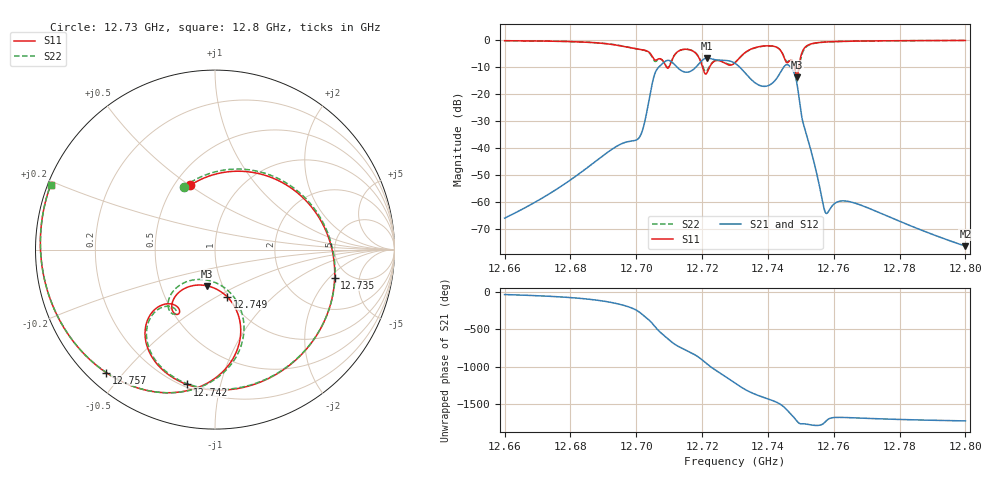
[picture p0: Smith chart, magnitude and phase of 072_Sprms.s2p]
! TOUCHSTONE file generated by CST MICROWAVE STUDIO
! Date and time: Wed Jul 31 14:20:36 2024
! Project name: WaveGuide_BPF-Ver4.1_U-shape_Ku_T3_C4_CWA_2.cst
! Parameters = {cavity_h=16; cavity_l0=10; cavity_l1=15.2223; cavity_l2=16.8835; cavity_l3=17.1034; cavity_l4=17.259; cavity_l5=17.1644; cavity_l6=17.5958; cavity_r=2.5; cavity_screw_l=0.5; cavity_screw_r=1.5; cavity_w=8; iris_h00=0; iris_h01=8.8344; iris_h112=0; iris_h12=5.5935; iris_h211=3.6647; i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
! Header version: 2018
! Port assignment regex: !\s*Touchstone port\s*([0-9]+)\s*=\s*(CST MWS port|CST DS port)\s*([0-9]+|Zmin|Zmax)\s*\(\"(.*)\"\)(\s*mode\s*([0-9]+))?.*
! Touchstone port assignment:
! Touchstone port 1 = CST MWS port 1 ("")
! Touchstone port 2 = CST MWS port 2 ("")
# GHz S RI R 50
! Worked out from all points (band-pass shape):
!   5001 points, 12.66 GHz to 12.8 GHz, reference 50 ohm
!   highest |S21| = -6.67 dB at 12.722 GHz (marker M1); lowest = -76.3 dB at 12.8 GHz (marker M2)
!   |S21| within 3 dB of the highest: 12.70709 GHz to 12.71209 GHz (4.994 MHz wide, 0.0393 % of centre); 12.71838 GHz to 12.73114 GHz (12.76 MHz wide, 0.1 % of centre) (the widest 2 of 3)
!   lowest |S11| = -13.7 dB at 12.749 GHz (marker M3), VSWR 1.52, Z = 42.4 - j17.9 ohm
!   |S11| at or under -10 dB: 12.70919 GHz to 12.70993 GHz (749 kHz wide, 0.00589 % of centre); 12.72013 GHz to 12.72229 GHz (2.156 MHz wide, 0.0169 % of centre); 12.74808 GHz to 12.74939 GHz (1.311 MHz wide, 0.0103 % of centre)
!   |S22| runs from -15.1 to -0.1 dB; largest |S21 - S12| = 1e-09
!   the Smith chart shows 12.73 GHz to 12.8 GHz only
!   S11 on the Smith chart (normalised r, x): 12.73 GHz: 0.60, +0.50; 12.735 GHz: 3.92, -2.30; 12.742 GHz: 0.22, -0.79; 12.749 GHz: 0.99, -0.56; 12.757 GHz: 0.05, -0.45; 12.8 GHz: 0.01, +0.19
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12.66  0.4827 0.8462  0.000419 -0.000286  0.000419 -0.000286  0.48 0.848
12.68335  0.909 0.1548  0.000183 -0.00361  0.000183 -0.00361  0.9076 0.1747
12.6962  0.044 -0.7595  -0.0125 -0.000128  -0.0125 -0.000128  0.115 -0.7608
12.70124  -0.6659 -0.0775  0.003 0.0167  0.003 0.0167  -0.649 -0.164
12.70668  -0.0919 0.4375  -0.278 -0.1351  -0.278 -0.1351  -0.1475 0.407
12.70945  0.0446 0.3008  -0.0548 0.4175  -0.0548 0.4175  0.0146 0.3125
12.7118  0.0971 0.5376  0.329 0.0947  0.329 0.0947  0.0653 0.5435
12.71765  0.5833 -0.1488  -0.1396 -0.2614  -0.1396 -0.2614  0.5957 -0.1135
12.7216  0.2224 -0.1272  -0.1707 0.4314  -0.1707 0.4314  0.2377 -0.1457
12.7253  -0.0123 -0.4139  0.4237 -0.0218  0.4237 -0.0218  -0.0167 -0.4195
12.73  -0.1492 0.3505  -0.2927 -0.2293  -0.2927 -0.2293  -0.1854 0.3394
12.73006  -0.1379 0.3581  -0.2978 -0.2195  -0.2978 -0.2195  -0.1748 0.3478
12.73496  0.6668 -0.156  -0.00235 0.1858  -0.00235 0.1858  0.6691 -0.1097
12.74179  -0.156 -0.7516  0.1565 -0.064  0.1565 -0.064  -0.135 -0.754
12.74638  -0.1974 -0.349  -0.3346 -0.0588  -0.3346 -0.0588  -0.2164 -0.3517
12.74882  -0.043 -0.2021  0.0575 0.1464  0.0575 0.1464  -0.0775 -0.1661
12.74924  0.0664 -0.262  0.0714 0.0813  0.0714 0.0813  0.0424 -0.2052
12.75335  -0.3253 -0.7938  0.00757 0.00205  0.00757 0.00205  -0.2939 -0.7966
12.75674  -0.6062 -0.6854  0.000803 0.000481  0.000803 0.000481  -0.5911 -0.6945
12.77668  -0.9709 -0.0251  -4.85e-05 0.000539  -4.85e-05 0.000539  -0.9705 -0.0262
12.79994  -0.916 0.3605  4.95e-05 0.000146  4.95e-05 0.000146  -0.9151 0.3626
12.8  -0.9158 0.3611  4.95e-05 0.000146  4.95e-05 0.000146  -0.9148 0.3632
